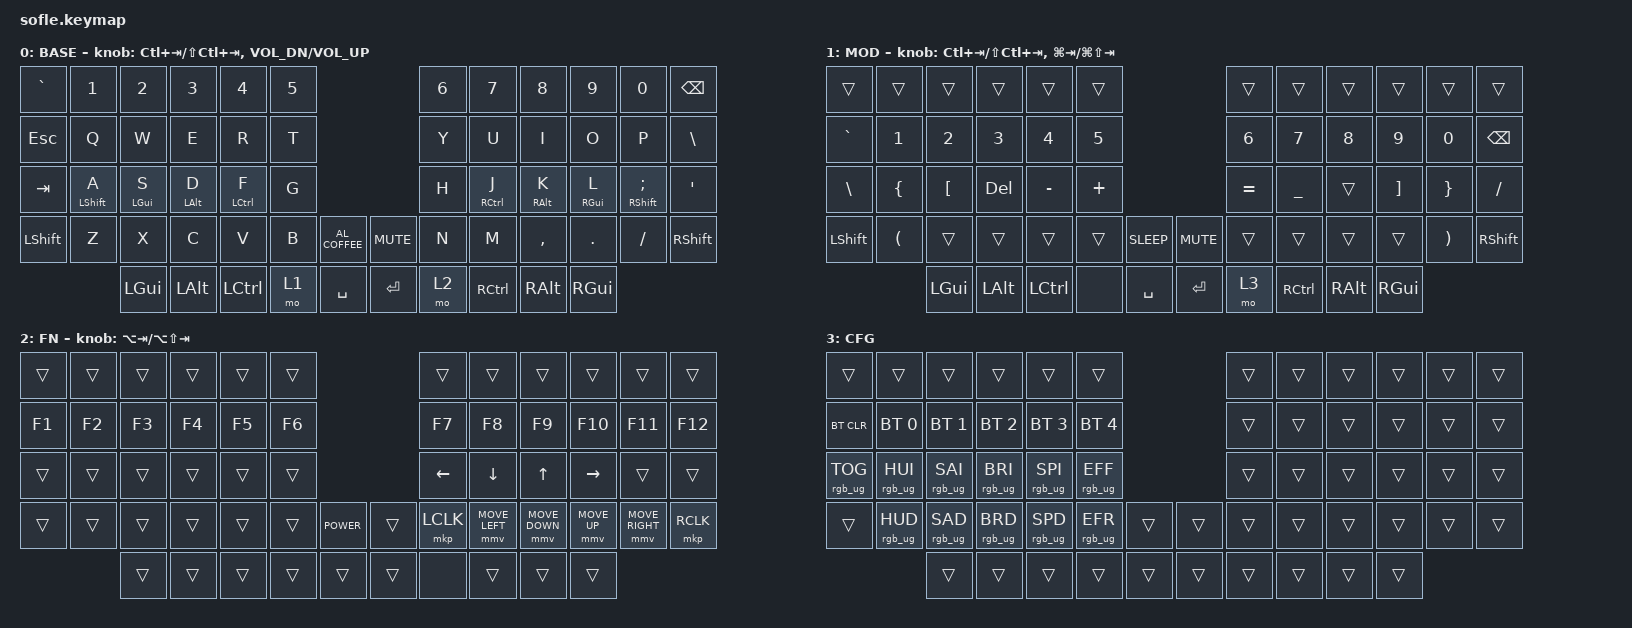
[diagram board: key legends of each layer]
/*
 * Copyright (c) 2020 The ZMK Contributors
 *
 * SPDX-License-Identifier: MIT
 */

#include <behaviors.dtsi>
#include <dt-bindings/zmk/bt.h>
#include <dt-bindings/zmk/keys.h>
#include <dt-bindings/zmk/pointing.h>
#include <dt-bindings/zmk/rgb.h>

/ {
    behaviors {
        hml: hml {
            compatible = "zmk,behavior-hold-tap";
            label = "Home Row Mode Left";
            bindings = <&kp>, <&kp>;

            #binding-cells = <2>;
            flavor = "balanced";
            require-prior-idle-ms = <150>;
            quick-tap-ms = <175>;
            tapping-term-ms = <280>;
            hold-trigger-on-release;
        };

        hmr: hmr {
            compatible = "zmk,behavior-hold-tap";
            label = "Home Row Mode Right";
            bindings = <&kp>, <&kp>;

            #binding-cells = <2>;
            require-prior-idle-ms = <150>;
            flavor = "balanced";
            quick-tap-ms = <175>;
            tapping-term-ms = <280>;
        };

        hmlay: hmlay {
            compatible = "zmk,behavior-hold-tap";
            label = "Home Row Mode Layer";
            bindings = <&mo>, <&kp>;

            #binding-cells = <2>;
            flavor = "balanced";
            require-prior-idle-ms = <150>;
            quick-tap-ms = <175>;
            tapping-term-ms = <280>;
            hold-trigger-on-release;
        };
    };

    keymap {
        compatible = "zmk,keymap";

        BASE {
            // ------------------------------------------------------------------------------------------------------------
            // |  `    |  1  |  2  |  3   |  4   |  5   |                         |  6   |  7    |  8    |  9   |   0   |       |
            // |  ESC  |  Q  |  W  |  E   |  R   |  T   |                         |  Y   |  U    |  I    |  O   |   P   | BKSPC |
            // |  TAB  |  A  |  S  |  D   |  F   |  G   |                         |  H   |  J    |  K    |  L   |   ;   |   '   |
            // | SHIFT |  Z  |  X  |  C   |  V   |  B   |  MUTE  |        | ExtPw |  N   |  M    |  ,    |  .   |   /   | SHIFT |
            //               | GUI | ALT  | CTRL | LOWER|  ENTER |        | SPACE | RAISE| CTRL  | ALT   | GUI  |

            bindings = <
&kp GRAVE  &kp N1         &kp N2           &kp N3       &kp N4        &kp N5                                 &kp N6  &kp N7        &kp N8       &kp N9            &kp N0                 &kp BACKSPACE
&kp ESC    &kp Q          &kp W            &kp E        &kp R         &kp T                                  &kp Y   &kp U         &kp I        &kp O             &kp P                  &kp BACKSLASH
&kp TAB    &hml LSHIFT A  &hml LEFT_GUI S  &hml LALT D  &hml LCTRL F  &kp G                                  &kp H   &hmr RCTRL J  &hmr RALT K  &hmr RIGHT_GUI L  &hmr RSHIFT SEMICOLON  &kp APOS
&kp LSHFT  &kp Z          &kp X            &kp C        &kp V         &kp B   &kp C_AL_COFFEE    &kp C_MUTE  &kp N   &kp M         &kp COMMA    &kp DOT           &kp FSLH               &kp RSHFT
                          &kp LGUI         &kp LALT     &kp LCTRL     &mo 1   &kp SPACE          &kp ENTER   &mo 2   &kp RCTRL     &kp RALT     &kp RGUI
            >;

            sensor-bindings =
                <&inc_dec_kp LC(TAB) LS(LC(TAB))>,
                <&inc_dec_kp C_VOL_DN C_VOL_UP>;
        };

        MOD {
            // TODO: Some binds are waiting for shifted keycode support.
            // ------------------------------------------------------------------------------------------------------------
            // |       |  F1 |  F2 |  F3  |  F4  |  F5  |                   |  F6  |  F7   |  F8   |  F9  |  F10  |  F11  |
            // | `     |   1 |   2 |   3  |   4  |   5  |                   |   6  |   7   |   8   |   9  |    0  |  F12  |
            // |       |  !  |  @  |  #   |  $   |  %   |                   |  ^   |  &    |  *    |  (   |   )   |   |   |
            // |       |  =  |  -  |  +   |  {   |  }   |        |  |       |  [   |  ]    |  ;    |  :   |   \   |       |
            //               |     |      |      |      |        |  |       |      |       |       |      |

            bindings = <
&trans         &trans                &trans            &trans      &trans     &trans                               &trans     &trans          &trans    &trans             &trans                 &trans
&kp GRAVE      &kp N1                &kp N2            &kp N3      &kp N4     &kp N5                               &kp N6     &kp N7          &kp N8    &kp N9             &kp N0                 &kp BACKSPACE
&kp BACKSLASH  &kp LEFT_BRACE        &kp LEFT_BRACKET  &kp DELETE  &kp MINUS  &kp PLUS                             &kp EQUAL  &kp UNDERSCORE  &trans    &kp RIGHT_BRACKET  &kp RIGHT_BRACE        &kp SLASH
&kp LSHFT      &kp LEFT_PARENTHESIS  &trans            &trans      &trans     &trans    &kp C_SLEEP    &kp C_MUTE  &trans     &trans          &trans    &trans             &kp RIGHT_PARENTHESIS  &kp RSHFT
                                     &kp LGUI          &kp LALT    &kp LCTRL  &none     &kp SPACE      &kp ENTER   &mo 3      &kp RCTRL       &kp RALT  &kp RGUI
            >;

            sensor-bindings =
                <&inc_dec_kp LC(TAB) LS(LC(TAB))>,
                <&inc_dec_kp LG(TAB) LG(LS(TAB))>;
        };

        FN {
            bindings = <
&trans  &trans  &trans  &trans  &trans  &trans                         &trans     &trans          &trans          &trans        &trans           &trans
&kp F1  &kp F2  &kp F3  &kp F4  &kp F5  &kp F6                         &kp F7     &kp F8          &kp F9          &kp F10       &kp F11          &kp F12
&trans  &trans  &trans  &trans  &trans  &trans                         &kp LEFT   &kp DOWN        &kp UP          &kp RIGHT     &trans           &trans
&trans  &trans  &trans  &trans  &trans  &trans  &kp K_POWER    &trans  &mkp LCLK  &mmv MOVE_LEFT  &mmv MOVE_DOWN  &mmv MOVE_UP  &mmv MOVE_RIGHT  &mkp RCLK
                &trans  &trans  &trans  &trans  &trans         &trans  &none      &trans          &trans          &trans
            >;

            sensor-bindings = <&inc_dec_kp LA(TAB) LA(LS(TAB))>;
        };

        CFG {
            bindings = <
&trans           &trans           &trans           &trans           &trans           &trans                             &trans  &trans  &trans  &trans  &trans  &trans
&bt BT_CLR       &bt BT_SEL 0     &bt BT_SEL 1     &bt BT_SEL 2     &bt BT_SEL 3     &bt BT_SEL 4                       &trans  &trans  &trans  &trans  &trans  &trans
&rgb_ug RGB_TOG  &rgb_ug RGB_HUI  &rgb_ug RGB_SAI  &rgb_ug RGB_BRI  &rgb_ug RGB_SPI  &rgb_ug RGB_EFF                    &trans  &trans  &trans  &trans  &trans  &trans
&trans           &rgb_ug RGB_HUD  &rgb_ug RGB_SAD  &rgb_ug RGB_BRD  &rgb_ug RGB_SPD  &rgb_ug RGB_EFR  &trans    &trans  &trans  &trans  &trans  &trans  &trans  &trans
                                  &trans           &trans           &trans           &trans           &trans    &trans  &trans  &trans  &trans  &trans
            >;
        };
    };
};
